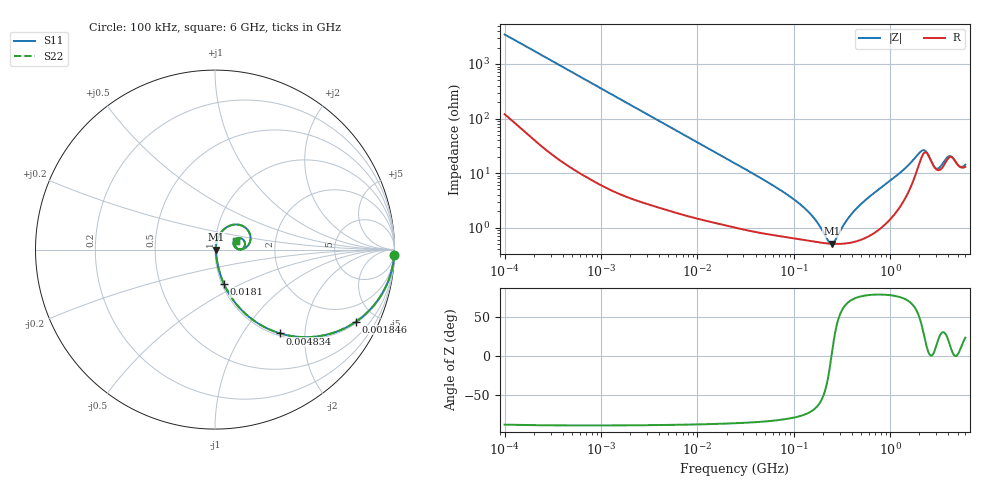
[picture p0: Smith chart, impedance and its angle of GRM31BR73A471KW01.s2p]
!Murata Part Number: GRM31BR73A471KW01
!These Parameters are Measured in Series Mode Connection
!Data Generated on Mar 30, 2021
!  o--ll--o
!Port1  Port2
!  o------o
!Operation Temp=25[degC], DC Bias Voltage=0[V]
!Freq. Start=100[kHz] Stop=6[GHz] 401[Steps]
# Hz S RI R 50
!Freq.(Hz) S11(Real) S11(Imag) S21(Real) S21(Imag) S12(Real) S12(Imag) S22(Real) S22(Imag)
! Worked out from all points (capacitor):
!   401 points, 100 kHz to 6 GHz, reference 50 ohm
!   read as one part in series: C = 454 pF near 105.7 kHz
!   lowest |Z| = 506 mohm at 246.9 MHz (marker M1)
!   series resonance near 244.9 MHz, so ESL is about 930 pH
!   S11 on the Smith chart (normalised r, x): 100 kHz: 3, -70; 1.846 MHz: 1.07, -3.88; 4.834 MHz: 1.04, -1.50; 18.1 MHz: 1.02, -0.41; 6 GHz: 1.26, +0.12
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100000  0.9982 -0.0286  0.00181 0.0286  0.00181 0.0286  0.9982 -0.0286
631452  0.9668 -0.1711  0.0332 0.1711  0.0332 0.1711  0.9668 -0.1711
1125106  0.9058 -0.2838  0.0942 0.2838  0.0942 0.2838  0.9058 -0.2838
1845908  0.7861 -0.4008  0.2139 0.4008  0.2139 0.4008  0.7861 -0.4008
3987316  0.4518 -0.4851  0.5482 0.4851  0.5482 0.4851  0.4518 -0.4851
4833907  0.3629 -0.4671  0.6371 0.4671  0.6371 0.4671  0.3629 -0.4671
8853126  0.1542 -0.3429  0.8458 0.3429  0.8458 0.3429  0.1542 -0.3429
1.809991e7  0.0495 -0.1909  0.9505 0.1909  0.9505 0.1909  0.0495 -0.1909
2.517799e7  0.0301 -0.1405  0.9699 0.1405  0.9699 0.1405  0.0301 -0.1405
8.44535e7  0.00818 -0.0396  0.9918 0.0396  0.9918 0.0396  0.00818 -0.0396
1.546735e8  0.00578 -0.0152  0.9942 0.0152  0.9942 0.0152  0.00578 -0.0152
2.273271e8  0.00508 -0.00244  0.9949 0.00244  0.9949 0.00244  0.00508 -0.00244
2.468808e8  0.00502 0.000261  0.995 -0.000261  0.995 -0.000261  0.00502 0.000261
4.398862e8  0.00597 0.0209  0.994 -0.0209  0.994 -0.0209  0.00597 0.0209
9.76689e8  0.018 0.0671  0.982 -0.0671  0.982 -0.0671  0.018 0.0671
1.558934e9  0.0606 0.1213  0.9394 -0.1213  0.9394 -0.1213  0.0606 0.1213
2.10973e9  0.1786 0.1138  0.8214 -0.1138  0.8214 -0.1138  0.1786 0.1138
2.355095e9  0.1945 0.0412  0.8055 -0.0412  0.8055 -0.0412  0.1945 0.0412
3.016594e9  0.1047 0.0249  0.8953 -0.0249  0.8953 -0.0249  0.1047 0.0249
4.082404e9  0.1656 0.042  0.8344 -0.042  0.8344 -0.042  0.1656 0.042
5.229069e9  0.1163 0.0129  0.8837 -0.0129  0.8837 -0.0129  0.1163 0.0129
6e9  0.1177 0.0454  0.8823 -0.0454  0.8823 -0.0454  0.1177 0.0454
